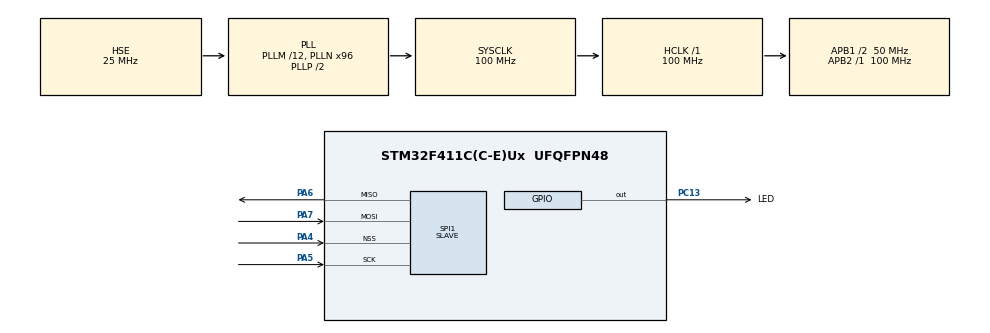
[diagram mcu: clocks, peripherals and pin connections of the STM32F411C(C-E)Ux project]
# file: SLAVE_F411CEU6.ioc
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Mcu.Family=STM32F4
Mcu.Name=STM32F411C(C-E)Ux
Mcu.Package=UFQFPN48
NVIC.PriorityGroup=NVIC_PRIORITYGROUP_4
PA13.Mode=Trace_Asynchronous_SW
PA13.Signal=SYS_JTMS-SWDIO
PA14.Mode=Trace_Asynchronous_SW
PA14.Signal=SYS_JTCK-SWCLK
PA4.Mode=NSS_Signal_Hard_Input
PA4.Signal=SPI1_NSS
PA5.GPIO_Speed=GPIO_SPEED_FREQ_VERY_HIGH
PA5.Mode=Full_Duplex_Slave
PA5.Signal=SPI1_SCK
PA6.Mode=Full_Duplex_Slave
PA6.Signal=SPI1_MISO
PA7.GPIO_Speed=GPIO_SPEED_FREQ_VERY_HIGH
PA7.Mode=Full_Duplex_Slave
PA7.Signal=SPI1_MOSI
PB3.Mode=Trace_Asynchronous_SW
PB3.Signal=SYS_JTDO-SWO
PC13-ANTI_TAMP.GPIO_Label=LED
PC13-ANTI_TAMP.Signal=GPIO_Output
PH0\ -\ OSC_IN.Mode=HSE-External-Oscillator
PH0\ -\ OSC_IN.Signal=RCC_OSC_IN
PH1\ -\ OSC_OUT.Mode=HSE-External-Oscillator
PH1\ -\ OSC_OUT.Signal=RCC_OSC_OUT
ProjectManager.HeapSize=0x200
ProjectManager.StackSize=0x400
ProjectManager.TargetToolchain=STM32CubeIDE
RCC.48MHZClocksFreq_Value=50000000
RCC.AHBFreq_Value=100000000
RCC.APB1CLKDivider=RCC_HCLK_DIV2
RCC.APB1Freq_Value=50000000
RCC.APB1TimFreq_Value=100000000
RCC.APB2Freq_Value=100000000
RCC.APB2TimFreq_Value=100000000
RCC.CortexFreq_Value=100000000
RCC.HCLKFreq_Value=100000000
RCC.HSE_VALUE=25000000
RCC.HSI_VALUE=16000000
RCC.LSE_VALUE=32768
RCC.PLLM=12
RCC.PLLN=96
RCC.PLLSourceVirtual=RCC_PLLSOURCE_HSE
RCC.SYSCLKFreq_VALUE=100000000
RCC.SYSCLKSource=RCC_SYSCLKSOURCE_PLLCLK
RCC.VCOOutputFreq_Value=200000000
SPI1.DataSize=SPI_DATASIZE_8BIT
SPI1.Direction=SPI_DIRECTION_2LINES
SPI1.Mode=SPI_MODE_SLAVE
SPI1.VirtualNSS=VM_NSSHARD
SPI1.VirtualType=VM_SLAVE
board=custom

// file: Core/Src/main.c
/* USER CODE BEGIN Header */
/**>>>>>>>>>>>>>>>>>>>>>>>>>>>>>> SPI SLAVE PART <<<<<<<<<<<<<<<<<<<<<<<<<<<<<<<
  ******************************************************************************
  * @file           : main.c
  * @brief          : Main program body
  ******************************************************************************
  * @attention
  *
  * Copyright (c) 2024 STMicroelectronics.
  * All rights reserved.
  *
  * This software is licensed under terms that can be found in the LICENSE file
  * in the root directory of this software component.
  * If no LICENSE file comes with this software, it is provided AS-IS.
  *
  ******************************************************************************
  */
/* USER CODE END Header */
#include "main.h"

/* USER CODE BEGIN Includes */
#include <stdio.h>
#include <stdbool.h>
/* USER CODE END Includes */

SPI_HandleTypeDef hspi1;

/* USER CODE BEGIN PV */
uint8_t rx_cmd;
uint32_t tx_len = 1U;
uint8_t* tx_data;
volatile bool dataFromISR_flag = false;

uint8_t tx_pattern1[] = {0xDE, 0xAD, 0xBE, 0xEF, 0xAB, 0xBA};
uint8_t tx_pattern2[] = {0xAB, 0xCD, 0xEF, 0x12, 0x34, 0x56};
uint8_t tx_pattern3[] = {0x76, 0x65, 0x54, 0x43, 0x32, 0x21};
uint8_t tx_dummy[]    = {0xDB, 0xDB, 0xDB, 0xDB, 0xDB, 0xDB};
/* USER CODE END PV */

void SystemClock_Config(void);
static void MX_GPIO_Init(void);
static void MX_SPI1_Init(void);
/* USER CODE BEGIN PFP */
bool isDataReceived(void);
void HAL_SPI_RxCpltCB(SPI_HandleTypeDef *hspi);
/* USER CODE END PFP */

int main(void)
{

  /* MCU Configuration--------------------------------------------------------*/

  /* Reset of all peripherals, Initializes the Flash interface and the Systick. */
  HAL_Init();

  /* Configure the system clock */
  SystemClock_Config();

  /* Initialize all configured peripherals */
  MX_GPIO_Init();
  MX_SPI1_Init();
  /* USER CODE BEGIN 2 */
  HAL_Delay(100);
  printf("STM32F411CEU6: SPI SLAVE:\n");
  /* USER CODE END 2 */

  /* Infinite loop */
  while (1)
  {

    /* USER CODE BEGIN 3 */
		if (HAL_SPI_Receive(&hspi1, &rx_cmd, 1, HAL_MAX_DELAY) == HAL_OK)
		{
			// Process received command and send response
			switch (rx_cmd)
			{
			case 0x1:
				tx_data = tx_pattern1;
				break;
			case 0x2:
				tx_data = tx_pattern2;
				break;
			case 0x3:
				tx_data = tx_pattern3;
				break;
			default:
				tx_data = tx_dummy;
				break;
			}
		}

		HAL_SPI_Transmit(&hspi1, tx_data, 6, HAL_MAX_DELAY);

		printf("Received 0x%02X\n", rx_cmd);
		printf("Sent ");

		for (uint32_t i = 0; i < 6; i++)
		{
			printf("0x%02X ", tx_data[i]);
		}
		printf("\n");
  }
  /* USER CODE END 3 */
}

void SystemClock_Config(void)
{
  RCC_OscInitTypeDef RCC_OscInitStruct = {0};
  RCC_ClkInitTypeDef RCC_ClkInitStruct = {0};

  /** Configure the main internal regulator output voltage
  */
  __HAL_RCC_PWR_CLK_ENABLE();
  __HAL_PWR_VOLTAGESCALING_CONFIG(PWR_REGULATOR_VOLTAGE_SCALE1);

  /** Initializes the RCC Oscillators according to the specified parameters
  * in the RCC_OscInitTypeDef structure.
  */
  RCC_OscInitStruct.OscillatorType = RCC_OSCILLATORTYPE_HSE;
  RCC_OscInitStruct.HSEState = RCC_HSE_ON;
  RCC_OscInitStruct.PLL.PLLState = RCC_PLL_ON;
  RCC_OscInitStruct.PLL.PLLSource = RCC_PLLSOURCE_HSE;
  RCC_OscInitStruct.PLL.PLLM = 12;
  RCC_OscInitStruct.PLL.PLLN = 96;
  RCC_OscInitStruct.PLL.PLLP = RCC_PLLP_DIV2;
  RCC_OscInitStruct.PLL.PLLQ = 4;
  if (HAL_RCC_OscConfig(&RCC_OscInitStruct) != HAL_OK)
  {
    Error_Handler();
  }

  /** Initializes the CPU, AHB and APB buses clocks
  */
  RCC_ClkInitStruct.ClockType = RCC_CLOCKTYPE_HCLK|RCC_CLOCKTYPE_SYSCLK
                              |RCC_CLOCKTYPE_PCLK1|RCC_CLOCKTYPE_PCLK2;
  RCC_ClkInitStruct.SYSCLKSource = RCC_SYSCLKSOURCE_PLLCLK;
  RCC_ClkInitStruct.AHBCLKDivider = RCC_SYSCLK_DIV1;
  RCC_ClkInitStruct.APB1CLKDivider = RCC_HCLK_DIV2;
  RCC_ClkInitStruct.APB2CLKDivider = RCC_HCLK_DIV1;

  if (HAL_RCC_ClockConfig(&RCC_ClkInitStruct, FLASH_LATENCY_3) != HAL_OK)
  {
    Error_Handler();
  }
}

static void MX_SPI1_Init(void)
{

  /* SPI1 parameter configuration*/
  hspi1.Instance = SPI1;
  hspi1.Init.Mode = SPI_MODE_SLAVE;
  hspi1.Init.Direction = SPI_DIRECTION_2LINES;
  hspi1.Init.DataSize = SPI_DATASIZE_8BIT;
  hspi1.Init.CLKPolarity = SPI_POLARITY_LOW;
  hspi1.Init.CLKPhase = SPI_PHASE_1EDGE;
  hspi1.Init.NSS = SPI_NSS_HARD_INPUT;
  hspi1.Init.FirstBit = SPI_FIRSTBIT_MSB;
  hspi1.Init.TIMode = SPI_TIMODE_DISABLE;
  hspi1.Init.CRCCalculation = SPI_CRCCALCULATION_DISABLE;
  hspi1.Init.CRCPolynomial = 10;
  if (HAL_SPI_Init(&hspi1) != HAL_OK)
  {
    Error_Handler();
  }

}

static void MX_GPIO_Init(void)
{
  GPIO_InitTypeDef GPIO_InitStruct = {0};

  /* GPIO Ports Clock Enable */
  __HAL_RCC_GPIOC_CLK_ENABLE();
  __HAL_RCC_GPIOH_CLK_ENABLE();
  __HAL_RCC_GPIOA_CLK_ENABLE();
  __HAL_RCC_GPIOB_CLK_ENABLE();

  /*Configure GPIO pin Output Level */
  HAL_GPIO_WritePin(LED_GPIO_Port, LED_Pin, GPIO_PIN_RESET);

  /*Configure GPIO pin : LED_Pin */
  GPIO_InitStruct.Pin = LED_Pin;
  GPIO_InitStruct.Mode = GPIO_MODE_OUTPUT_PP;
  GPIO_InitStruct.Pull = GPIO_NOPULL;
  GPIO_InitStruct.Speed = GPIO_SPEED_FREQ_LOW;
  HAL_GPIO_Init(LED_GPIO_Port, &GPIO_InitStruct);

}

/* USER CODE BEGIN 4 */
int _write(int file, char *ptr, int len)
{
  /* Implement your write code here, this is used by puts and printf for example */
  int i=0;

  for(i=0 ; i<len ; i++)
  {
	  ITM_SendChar((*ptr++));
  }

  return len;
}
/* USER CODE END 4 */

void Error_Handler(void)
{
  __disable_irq();
  while (1)
  {
  }
}
